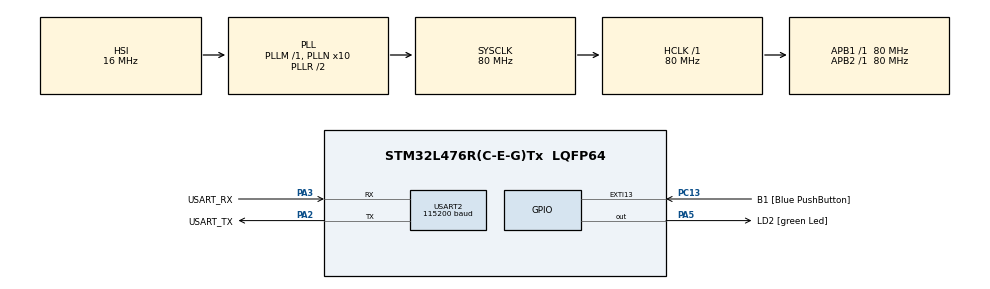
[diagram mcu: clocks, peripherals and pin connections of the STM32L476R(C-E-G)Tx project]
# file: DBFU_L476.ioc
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CRC.CRCLength=CRC_POLYLENGTH_16B
CRC.DefaultInitValueUse=DEFAULT_INIT_VALUE_DISABLE
CRC.DefaultPolynomialUse=DEFAULT_POLYNOMIAL_DISABLE
CRC.GeneratingPolynomial=X12+X5+X0
CRC.InitValue=0x1D0F
Dma.Request0=USART2_RX
Dma.USART2_RX.0.Direction=DMA_PERIPH_TO_MEMORY
Dma.USART2_RX.0.Instance=DMA1_Channel6
Dma.USART2_RX.0.MemDataAlignment=DMA_MDATAALIGN_BYTE
Dma.USART2_RX.0.MemInc=DMA_MINC_ENABLE
Dma.USART2_RX.0.Mode=DMA_NORMAL
Dma.USART2_RX.0.PeriphDataAlignment=DMA_PDATAALIGN_BYTE
Dma.USART2_RX.0.PeriphInc=DMA_PINC_DISABLE
Dma.USART2_RX.0.Priority=DMA_PRIORITY_VERY_HIGH
Mcu.Family=STM32L4
Mcu.Name=STM32L476R(C-E-G)Tx
Mcu.Package=LQFP64
NVIC.DMA1_Channel6_IRQn=true\:2\:0\:true\:false\:true\:false\:true\:true
NVIC.EXTI15_10_IRQn=true\:0\:0\:false\:false\:true\:true\:true\:true
NVIC.FLASH_IRQn=true\:0\:0\:true\:false\:true\:true\:true\:true
NVIC.PriorityGroup=NVIC_PRIORITYGROUP_4
PA13\ (JTMS-SWDIO).GPIO_Label=TMS
PA13\ (JTMS-SWDIO).Mode=Trace_Asynchronous_SW
PA13\ (JTMS-SWDIO).Signal=SYS_JTMS-SWDIO
PA14\ (JTCK-SWCLK).GPIO_Label=TCK
PA14\ (JTCK-SWCLK).Mode=Trace_Asynchronous_SW
PA14\ (JTCK-SWCLK).Signal=SYS_JTCK-SWCLK
PA2.GPIO_Label=USART_TX
PA2.GPIO_Mode=GPIO_MODE_AF_PP
PA2.GPIO_PuPd=GPIO_NOPULL
PA2.GPIO_Speed=GPIO_SPEED_FREQ_VERY_HIGH
PA2.Mode=Asynchronous
PA2.Signal=USART2_TX
PA3.GPIO_Label=USART_RX
PA3.GPIO_Mode=GPIO_MODE_AF_PP
PA3.GPIO_PuPd=GPIO_NOPULL
PA3.GPIO_Speed=GPIO_SPEED_FREQ_VERY_HIGH
PA3.Mode=Asynchronous
PA3.Signal=USART2_RX
PA5.GPIO_Label=LD2 [green Led]
PA5.GPIO_ModeDefaultOutputPP=GPIO_MODE_OUTPUT_PP
PA5.GPIO_PuPd=GPIO_NOPULL
PA5.GPIO_Speed=GPIO_SPEED_FREQ_LOW
PA5.Signal=GPIO_Output
PB3\ (JTDO-TRACESWO).GPIO_Label=SWO
PB3\ (JTDO-TRACESWO).Mode=Trace_Asynchronous_SW
PB3\ (JTDO-TRACESWO).Signal=SYS_JTDO-SWO
PC13.GPIO_Label=B1 [Blue PushButton]
PC13.GPIO_ModeDefaultEXTI=GPIO_MODE_IT_FALLING
PC13.GPIO_PuPd=GPIO_NOPULL
PC13.Signal=GPXTI13
PC14-OSC32_IN\ (PC14).Signal=RCC_OSC32_IN
PC15-OSC32_OUT\ (PC15).Signal=RCC_OSC32_OUT
PH0-OSC_IN\ (PH0).Signal=RCC_OSC_IN
PH1-OSC_OUT\ (PH1).Signal=RCC_OSC_OUT
ProjectManager.HeapSize=0x200
ProjectManager.StackSize=0x400
ProjectManager.TargetToolchain=STM32CubeIDE
RCC.ADCFreq_Value=64000000
RCC.AHBFreq_Value=80000000
RCC.APB1Freq_Value=80000000
RCC.APB1TimFreq_Value=80000000
RCC.APB2Freq_Value=80000000
RCC.APB2TimFreq_Value=80000000
RCC.CortexFreq_Value=80000000
RCC.HCLKFreq_Value=80000000
RCC.HSE_VALUE=8000000
RCC.HSI_VALUE=16000000
RCC.LSE_VALUE=32768
RCC.MSI_VALUE=4000000
RCC.PLLN=10
RCC.PLLSourceVirtual=RCC_PLLSOURCE_HSI
RCC.PREFETCH_ENABLE=1
RCC.SYSCLKFreq_VALUE=80000000
RCC.SYSCLKSource=RCC_SYSCLKSOURCE_PLLCLK
RCC.USBFreq_Value=64000000
RCC.VCOOutputFreq_Value=160000000
USART2.BaudRate=115200
USART2.VirtualMode-Asynchronous=VM_ASYNC
VP_CRC_VS_CRC.Mode=CRC_Activate
board=NUCLEO-L476RG

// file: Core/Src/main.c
/* USER CODE BEGIN Header */
/**
  ******************************************************************************
  * @file           : main.c
  * @brief          : Main program body
  ******************************************************************************
  * @attention
  *
  * Copyright (c) 2022 STMicroelectronics.
  * All rights reserved.
  *
  * This software is licensed under terms that can be found in the LICENSE file
  * in the root directory of this software component.
  * If no LICENSE file comes with this software, it is provided AS-IS.
  *
  ******************************************************************************
  */
/* USER CODE END Header */
#include "main.h"

/* USER CODE BEGIN Includes */
#include <DBFU.h>
#include <stdio.h>
/* USER CODE END Includes */

CRC_HandleTypeDef hcrc;

UART_HandleTypeDef huart2;
DMA_HandleTypeDef hdma_usart2_rx;

/* USER CODE BEGIN PV */
bool button_pressed = false;
uint32_t current_bank;
DBFU_ErrorTypeDef DBFU_ErrorCode;
/* USER CODE END PV */

void SystemClock_Config(void);
static void MX_GPIO_Init(void);
static void MX_DMA_Init(void);
static void MX_USART2_UART_Init(void);
static void MX_CRC_Init(void);

/* USER CODE BEGIN 0 */

#ifdef USE_TRACE
int __io_putchar(int ch)
{
 // Write character to ITM ch.0
 ITM_SendChar(ch);
 return(ch);
}
#endif
/* USER CODE END 0 */

int main(void)
{
  /* USER CODE BEGIN 1 */

  /*
   * When BFB = 0, Bank 1 is aliased to address 0x00000000, therefore VTOR = 0x00000000
   *
   * When BFB = 1, system memory is aliased to 0x00000000 so it can execute code necessary to check
   * if there is valid code in Bank2, and Bank2 is aliased to 0x8000000. It is necessary to set
   * VTOR = 0x8000000 when BFB=1 because of this.
   *
   * Refer to RM0351 Section 2.6.1
   */

  // Use SYSCFG_MEMRMP_FB_MODE to check which banks we're currently in
  if (SYSCFG->MEMRMP & SYSCFG_MEMRMP_FB_MODE)
  {
    SCB->VTOR = 0x8000000;
    current_bank = 2;
  }
  else
  {
    SCB->VTOR = 0x00000000;
    current_bank = 1;
  }

  /* USER CODE END 1 */

  /* MCU Configuration--------------------------------------------------------*/

  /* Reset of all peripherals, Initializes the Flash interface and the Systick. */
  HAL_Init();

  /* Configure the system clock */
  SystemClock_Config();

  /* Initialize all configured peripherals */
  MX_GPIO_Init();
  MX_DMA_Init();
  MX_USART2_UART_Init();
  MX_CRC_Init();
  /* USER CODE BEGIN 2 */

  /*
   * Blink LED at different rates depending on bank the code is
   * running from to indicate that the bank switch has occurred
   */
  uint32_t delay = (current_bank == 1) ? 1000 : 100;

  // Non-blocking LED blink variables
  uint32_t start_tick, new_tick;
  start_tick = HAL_GetTick();
  /* USER CODE END 2 */

  /* Infinite loop */
  /* USER CODE BEGIN WHILE */
  while (1)
  {

    if (button_pressed)
    {

    	DBFU_ErrorCode = DBFU_Process();

    	if(DBFU_ErrorCode != DBFU_OK)
    	{
    		/*
    		 * If the button is pressed before Loader script is initiated, or
    		 * if the script doesn't acknowledge in time
    		 */
    		if (DBFU_ErrorCode == DBFU_Initiation_Error)
    		{
    			for (int i =0; i<10; i++)
    			{
						HAL_GPIO_TogglePin(LD2_GPIO_Port, LD2_Pin);
						HAL_Delay(66);
    			}

    			DBFU_ErrorCode = DBFU_OK;
    			button_pressed = false;
    		}
    		else
    			Error_Handler();
    	}
    }

    // Non-blocking LED blinking
    new_tick = HAL_GetTick();
    if ((new_tick - start_tick) >= delay)
    {
      HAL_GPIO_TogglePin(LD2_GPIO_Port, LD2_Pin);
      start_tick = HAL_GetTick();
    }

    /* USER CODE END WHILE */

  }
}

void SystemClock_Config(void)
{
  RCC_OscInitTypeDef RCC_OscInitStruct = {0};
  RCC_ClkInitTypeDef RCC_ClkInitStruct = {0};

  /** Configure the main internal regulator output voltage
  */
  if (HAL_PWREx_ControlVoltageScaling(PWR_REGULATOR_VOLTAGE_SCALE1) != HAL_OK)
  {
    Error_Handler();
  }

  /** Initializes the RCC Oscillators according to the specified parameters
  * in the RCC_OscInitTypeDef structure.
  */
  RCC_OscInitStruct.OscillatorType = RCC_OSCILLATORTYPE_HSI;
  RCC_OscInitStruct.HSIState = RCC_HSI_ON;
  RCC_OscInitStruct.HSICalibrationValue = RCC_HSICALIBRATION_DEFAULT;
  RCC_OscInitStruct.PLL.PLLState = RCC_PLL_ON;
  RCC_OscInitStruct.PLL.PLLSource = RCC_PLLSOURCE_HSI;
  RCC_OscInitStruct.PLL.PLLM = 1;
  RCC_OscInitStruct.PLL.PLLN = 10;
  RCC_OscInitStruct.PLL.PLLP = RCC_PLLP_DIV7;
  RCC_OscInitStruct.PLL.PLLQ = RCC_PLLQ_DIV2;
  RCC_OscInitStruct.PLL.PLLR = RCC_PLLR_DIV2;
  if (HAL_RCC_OscConfig(&RCC_OscInitStruct) != HAL_OK)
  {
    Error_Handler();
  }

  /** Initializes the CPU, AHB and APB buses clocks
  */
  RCC_ClkInitStruct.ClockType = RCC_CLOCKTYPE_HCLK|RCC_CLOCKTYPE_SYSCLK
                              |RCC_CLOCKTYPE_PCLK1|RCC_CLOCKTYPE_PCLK2;
  RCC_ClkInitStruct.SYSCLKSource = RCC_SYSCLKSOURCE_PLLCLK;
  RCC_ClkInitStruct.AHBCLKDivider = RCC_SYSCLK_DIV1;
  RCC_ClkInitStruct.APB1CLKDivider = RCC_HCLK_DIV1;
  RCC_ClkInitStruct.APB2CLKDivider = RCC_HCLK_DIV1;

  if (HAL_RCC_ClockConfig(&RCC_ClkInitStruct, FLASH_LATENCY_4) != HAL_OK)
  {
    Error_Handler();
  }
}

static void MX_CRC_Init(void)
{

  /* USER CODE BEGIN CRC_Init 1 */

  /*
   * CRC init and generated polynomial is close to a CRC16CCITT (polynomial = 0x1021 or x^16 + x^12 + x^5 + 1),
   * but I use a starting value of 0x1D0F as good trade off between false positives and error detection
   * for a file transfer application
   */

  /* USER CODE END CRC_Init 1 */
  hcrc.Instance = CRC;
  hcrc.Init.DefaultPolynomialUse = DEFAULT_POLYNOMIAL_DISABLE;
  hcrc.Init.DefaultInitValueUse = DEFAULT_INIT_VALUE_DISABLE;
  hcrc.Init.GeneratingPolynomial = 4129;
  hcrc.Init.CRCLength = CRC_POLYLENGTH_16B;
  hcrc.Init.InitValue = 0x1D0F;
  hcrc.Init.InputDataInversionMode = CRC_INPUTDATA_INVERSION_NONE;
  hcrc.Init.OutputDataInversionMode = CRC_OUTPUTDATA_INVERSION_DISABLE;
  hcrc.InputDataFormat = CRC_INPUTDATA_FORMAT_BYTES;
  if (HAL_CRC_Init(&hcrc) != HAL_OK)
  {
    Error_Handler();
  }

}

static void MX_USART2_UART_Init(void)
{

  huart2.Instance = USART2;
  huart2.Init.BaudRate = 115200;
  huart2.Init.WordLength = UART_WORDLENGTH_8B;
  huart2.Init.StopBits = UART_STOPBITS_1;
  huart2.Init.Parity = UART_PARITY_NONE;
  huart2.Init.Mode = UART_MODE_TX_RX;
  huart2.Init.HwFlowCtl = UART_HWCONTROL_NONE;
  huart2.Init.OverSampling = UART_OVERSAMPLING_16;
  huart2.Init.OneBitSampling = UART_ONE_BIT_SAMPLE_DISABLE;
  huart2.AdvancedInit.AdvFeatureInit = UART_ADVFEATURE_NO_INIT;
  if (HAL_UART_Init(&huart2) != HAL_OK)
  {
    Error_Handler();
  }

}

static void MX_DMA_Init(void)
{

  /* DMA controller clock enable */
  __HAL_RCC_DMA1_CLK_ENABLE();

  /* DMA interrupt init */
  /* DMA1_Channel6_IRQn interrupt configuration */
  HAL_NVIC_SetPriority(DMA1_Channel6_IRQn, 2, 0);
  HAL_NVIC_EnableIRQ(DMA1_Channel6_IRQn);

}

static void MX_GPIO_Init(void)
{
  GPIO_InitTypeDef GPIO_InitStruct = {0};

  /* GPIO Ports Clock Enable */
  __HAL_RCC_GPIOC_CLK_ENABLE();
  __HAL_RCC_GPIOH_CLK_ENABLE();
  __HAL_RCC_GPIOA_CLK_ENABLE();
  __HAL_RCC_GPIOB_CLK_ENABLE();

  /*Configure GPIO pin Output Level */
  HAL_GPIO_WritePin(LD2_GPIO_Port, LD2_Pin, GPIO_PIN_RESET);

  /*Configure GPIO pin : B1_Pin */
  GPIO_InitStruct.Pin = B1_Pin;
  GPIO_InitStruct.Mode = GPIO_MODE_IT_FALLING;
  GPIO_InitStruct.Pull = GPIO_NOPULL;
  HAL_GPIO_Init(B1_GPIO_Port, &GPIO_InitStruct);

  /*Configure GPIO pin : LD2_Pin */
  GPIO_InitStruct.Pin = LD2_Pin;
  GPIO_InitStruct.Mode = GPIO_MODE_OUTPUT_PP;
  GPIO_InitStruct.Pull = GPIO_NOPULL;
  GPIO_InitStruct.Speed = GPIO_SPEED_FREQ_LOW;
  HAL_GPIO_Init(LD2_GPIO_Port, &GPIO_InitStruct);

  /* EXTI interrupt init*/
  HAL_NVIC_SetPriority(EXTI15_10_IRQn, 0, 0);
  HAL_NVIC_EnableIRQ(EXTI15_10_IRQn);

}

/* USER CODE BEGIN 4 */

void HAL_GPIO_EXTI_Callback(uint16_t GPIO_Pin)
{
  if (GPIO_Pin == GPIO_PIN_13)
  {
    button_pressed = true;
  }
}

/* USER CODE END 4 */

void Error_Handler(void)
{
  __disable_irq();
  while (1)
  {
  }
}
